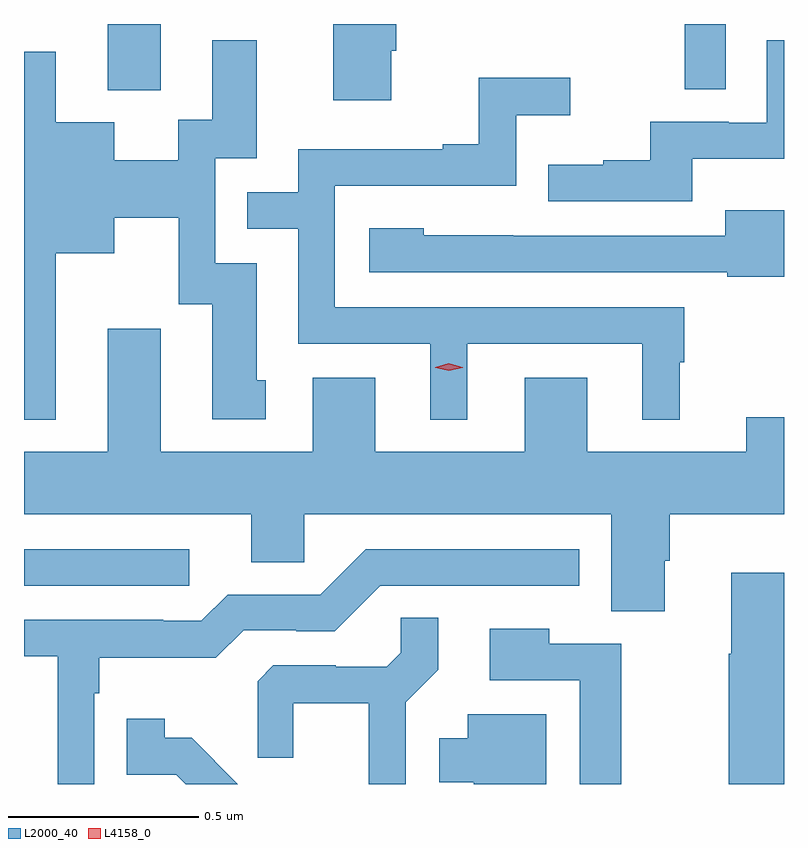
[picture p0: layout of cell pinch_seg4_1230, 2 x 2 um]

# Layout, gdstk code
import gdstk
lib = gdstk.Library(unit=1e-6, precision=1e-09)
def R(c, l, rs):  # rectangles x0, y0, x1, y1
    for r in rs: c.add(gdstk.rectangle(r[:2], r[2:], *l))
def P(c, l, *ps):  # polygons
    for p in ps: c.add(gdstk.Polygon(p, *l))
L2000_40 = (2000, 40)
L4158_0 = (4158, 0)

pinch_seg4_1230 = lib.new_cell('pinch_seg4_1230')
R(pinch_seg4_1230, L2000_40, [(335.317,804.624,335.752,804.72), (335.537,805.928,335.677,806.102), (337.056,805.93,337.164,806.102)])
P(pinch_seg4_1230, L2000_40, [(336.283,806.031),(336.296,806.031),(336.296,806.102),(336.131,806.102),(336.131,805.902),(336.283,805.902)],
  [(337.075,805.748),(337.317,805.748),(337.317,806.059),(337.272,806.059),(337.272,805.842),(337.172,805.842),(337.172,805.845),(336.965,805.845),(336.965,805.744),(336.841,805.744),(336.841,805.732),(336.697,805.732),(336.697,805.635),(337.075,805.635)],
  [(335.401,805.499),(335.554,805.499),(335.554,805.592),(335.724,805.592),(335.724,805.365),(335.813,805.365),(335.813,805.062),(335.953,805.062),(335.953,805.164),(335.929,805.164),(335.929,805.473),(335.82,805.473),(335.82,805.749),(335.929,805.749),(335.929,806.059),(335.813,806.059),(335.813,805.85),(335.723,805.85),(335.723,805.744),(335.554,805.744),(335.554,805.843),(335.401,805.843),(335.401,806.029),(335.317,806.029),(335.317,805.061),(335.401,805.061)],
  [(336.484,805.26),(336.944,805.26),(336.944,805.061),(337.042,805.061),(337.042,805.212),(337.054,805.212),(337.054,805.356),(336.135,805.356),(336.135,805.677),(336.612,805.677),(336.612,805.862),(336.754,805.862),(336.754,805.961),(336.514,805.961),(336.514,805.786),(336.419,805.786),(336.419,805.773),(336.039,805.773),(336.039,805.659),(335.905,805.659),(335.905,805.563),(336.039,805.563),(336.039,805.26),(336.386,805.26),(336.386,805.061),(336.484,805.061)],
  [(337.317,805.612),(337.163,805.612),(337.163,805.545),(336.605,805.545),(336.605,805.546),(336.369,805.546),(336.369,805.564),(336.225,805.564),(336.225,805.449),(337.167,805.449),(337.167,805.437),(337.317,805.437)],
  [(337.003,804.69),(337.016,804.69),(337.016,804.812),(337.317,804.812),(337.317,805.067),(337.217,805.067),(337.217,804.976),(336.799,804.976),(336.799,805.171),(336.635,805.171),(336.635,804.976),(336.241,804.976),(336.241,805.171),(336.077,805.171),(336.077,804.976),(335.677,804.976),(335.677,805.3),(335.537,805.3),(335.537,804.976),(335.317,804.976),(335.317,804.812),(335.915,804.812),(335.915,804.685),(336.054,804.685),(336.054,804.812),(336.863,804.812),(336.863,804.556),(337.003,804.556)],
  [(335.502,804.341),(335.515,804.341),(335.515,804.434),(335.822,804.434),(335.895,804.507),(336.034,804.507),(336.034,804.504),(336.135,804.504),(336.255,804.624),(336.778,804.624),(336.778,804.72),(336.216,804.72),(336.096,804.6),(335.853,804.6),(335.784,804.531),(335.684,804.531),(335.684,804.534),(335.317,804.534),(335.317,804.438),(335.406,804.438),(335.406,804.102),(335.502,804.102)],
  [(337.317,804.658),(337.178,804.658),(337.178,804.445),(337.171,804.445),(337.171,804.102),(337.317,804.102)],
  [(336.321,804.317),(336.407,804.403),(336.407,804.539),(336.309,804.539),(336.309,804.448),(336.272,804.411),(336.138,804.411),(336.138,804.414),(335.973,804.414),(335.932,804.373),(335.932,804.171),(336.026,804.171),(336.026,804.314),(336.224,804.314),(336.224,804.102),(336.321,804.102)],
  [(336.889,804.471),(336.699,804.471),(336.699,804.511),(336.543,804.511),(336.543,804.375),(336.78,804.375),(336.78,804.102),(336.889,804.102)],
  [(336.691,804.286),(336.485,804.286),(336.485,804.223),(336.41,804.223),(336.41,804.107),(336.5,804.107),(336.5,804.102),(336.691,804.102)],
  [(335.758,804.224),(335.688,804.224),(335.688,804.274),(335.587,804.274),(335.587,804.126),(335.718,804.126),(335.742,804.102),(335.88,804.102)])
P(pinch_seg4_1230, L4158_0, [(336.435,805.189),(336.399,805.198),(336.399,805.199),(336.399,805.199),(336.435,805.209),(336.471,805.199),(336.471,805.199),(336.471,805.198)])

lib.write_gds('pinch_seg4_1230.gds')
